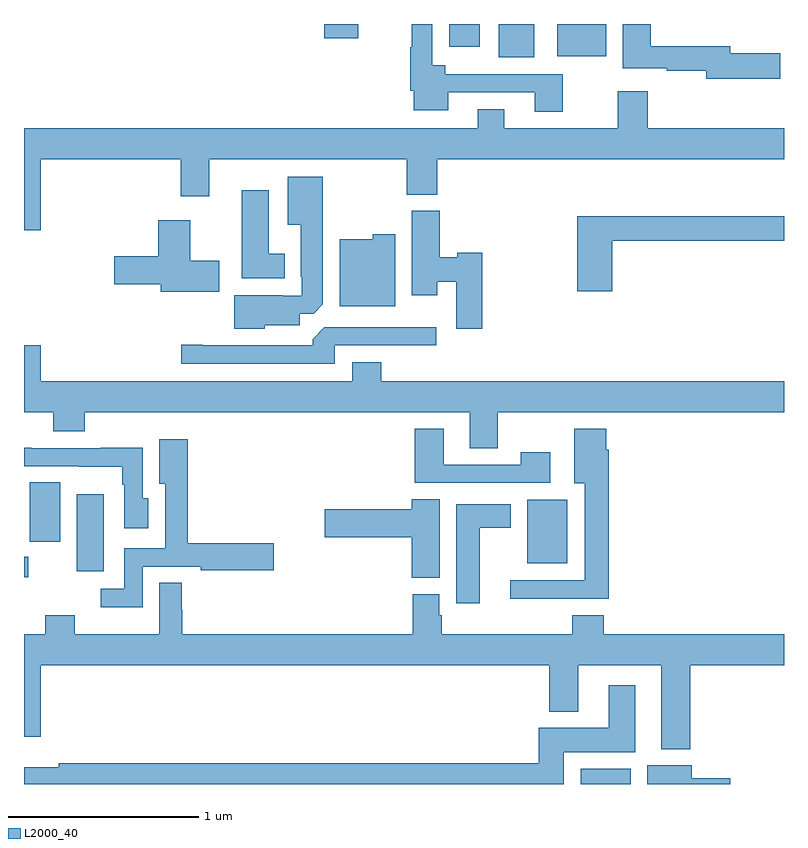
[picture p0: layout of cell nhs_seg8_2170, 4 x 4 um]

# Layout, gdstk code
import gdstk
lib = gdstk.Library(unit=1e-6, precision=1e-09)
def R(c, l, rs):  # rectangles x0, y0, x1, y1
    for r in rs: c.add(gdstk.rectangle(r[:2], r[2:], *l))
def P(c, l, *ps):  # polygons
    for p in ps: c.add(gdstk.Polygon(p, *l))
L2000_40 = (2000, 40)

nhs_seg8_2170 = lib.new_cell('nhs_seg8_2170')
R(nhs_seg8_2170, L2000_40, [(251.93,1091.9,252.193,1091.98), (249,1092.987,249.022,1093.095), (249.278,1093.02,249.421,1093.426), (251.648,1093.061,251.86,1093.396), (249.029,1093.176,249.19,1093.487), (251.498,1095.725,251.686,1095.9), (251.807,1095.731,252.064,1095.9), (251.237,1095.78,251.398,1095.9), (250.58,1095.825,250.758,1095.9)])
P(nhs_seg8_2170, L2000_40, [(252.979,1095.746),(252.718,1095.746),(252.718,1095.782),(252.299,1095.782),(252.299,1095.9),(252.152,1095.9),(252.152,1095.666),(252.382,1095.666),(252.382,1095.654),(252.59,1095.654),(252.59,1095.611),(252.979,1095.611)],
  [(251.835,1095.636),(251.218,1095.636),(251.218,1095.682),(251.148,1095.682),(251.148,1095.9),(251.04,1095.9),(251.04,1095.778),(251.032,1095.778),(251.032,1095.55),(251.051,1095.55),(251.051,1095.446),(251.233,1095.446),(251.233,1095.54),(251.687,1095.54),(251.687,1095.438),(251.835,1095.438)],
  [(249.088,1095.188),(249.824,1095.188),(249.824,1094.994),(249.976,1094.994),(249.976,1095.188),(251.014,1095.188),(251.014,1095.001),(251.174,1095.001),(251.174,1095.188),(253,1095.188),(253,1095.352),(252.284,1095.352),(252.284,1095.547),(252.124,1095.547),(252.124,1095.352),(251.527,1095.352),(251.527,1095.451),(251.387,1095.451),(251.387,1095.352),(249,1095.352),(249,1094.814),(249.088,1094.814)],
  [(250.266,1094.315),(250.45,1094.315),(250.45,1094.376),(250.524,1094.376),(250.573,1094.425),(250.573,1095.097),(250.388,1095.097),(250.388,1094.843),(250.457,1094.843),(250.457,1094.569),(250.461,1094.569),(250.461,1094.469),(250.361,1094.469),(250.361,1094.473),(250.106,1094.473),(250.106,1094.297),(250.266,1094.297)],
  [(250.372,1094.692),(250.288,1094.692),(250.288,1095.025),(250.145,1095.025),(250.145,1094.561),(250.372,1094.561)],
  [(251.411,1094.696),(251.28,1094.696),(251.28,1094.673),(251.189,1094.673),(251.189,1094.916),(251.042,1094.916),(251.042,1094.472),(251.176,1094.472),(251.176,1094.543),(251.276,1094.543),(251.276,1094.295),(251.411,1094.295)],
  [(252.095,1094.758),(253,1094.758),(253,1094.887),(251.912,1094.887),(251.912,1094.493),(252.095,1094.493)],
  [(250.027,1094.655),(249.874,1094.655),(249.874,1094.866),(249.707,1094.866),(249.707,1094.678),(249.474,1094.678),(249.474,1094.531),(249.719,1094.531),(249.719,1094.492),(250.027,1094.492)],
  [(250.954,1094.794),(250.836,1094.794),(250.836,1094.767),(250.661,1094.767),(250.661,1094.414),(250.954,1094.414)],
  [(250.635,1094.208),(251.17,1094.208),(251.17,1094.304),(250.581,1094.304),(250.52,1094.242),(250.52,1094.208),(249.94,1094.208),(249.94,1094.213),(249.828,1094.213),(249.828,1094.112),(250.635,1094.112)],
  [(251.493,1093.856),(253,1093.856),(253,1094.02),(250.88,1094.02),(250.88,1094.119),(250.727,1094.119),(250.727,1094.02),(249.088,1094.02),(249.088,1094.209),(249,1094.209),(249,1093.856),(249.155,1093.856),(249.155,1093.757),(249.32,1093.757),(249.32,1093.856),(251.345,1093.856),(251.345,1093.666),(251.493,1093.666)],
  [(252.077,1093.658),(252.064,1093.658),(252.064,1093.771),(251.897,1093.771),(251.897,1093.484),(251.951,1093.484),(251.951,1092.972),(251.559,1092.972),(251.559,1092.875),(252.077,1092.875)],
  [(251.77,1093.645),(251.614,1093.645),(251.614,1093.581),(251.209,1093.581),(251.209,1093.771),(251.057,1093.771),(251.057,1093.485),(251.77,1093.485)],
  [(249.624,1093.044),(249.93,1093.044),(249.93,1093.024),(250.315,1093.024),(250.315,1093.166),(249.862,1093.166),(249.862,1093.714),(249.713,1093.714),(249.713,1093.481),(249.743,1093.481),(249.743,1093.14),(249.528,1093.14),(249.528,1092.927),(249.405,1092.927),(249.405,1092.83),(249.624,1092.83)],
  [(249.655,1093.404),(249.624,1093.404),(249.624,1093.67),(249.403,1093.67),(249.403,1093.668),(249.037,1093.668),(249.037,1093.67),(249,1093.67),(249,1093.572),(249.286,1093.572),(249.286,1093.571),(249.516,1093.571),(249.516,1093.475),(249.528,1093.475),(249.528,1093.245),(249.655,1093.245)],
  [(251.188,1093.4),(251.042,1093.4),(251.042,1093.346),(250.584,1093.346),(250.584,1093.199),(251.042,1093.199),(251.042,1092.985),(251.188,1092.985)],
  [(251.398,1093.25),(251.563,1093.25),(251.563,1093.372),(251.276,1093.372),(251.276,1092.852),(251.398,1092.852)],
  [(252.506,1092.524),(253,1092.524),(253,1092.688),(252.05,1092.688),(252.05,1092.787),(251.885,1092.787),(251.885,1092.688),(251.198,1092.688),(251.198,1092.789),(251.185,1092.789),(251.185,1092.9),(251.045,1092.9),(251.045,1092.688),(249.832,1092.688),(249.832,1092.816),(249.83,1092.816),(249.83,1092.959),(249.713,1092.959),(249.713,1092.688),(249.267,1092.688),(249.267,1092.787),(249.112,1092.787),(249.112,1092.688),(249,1092.688),(249,1092.15),(249.088,1092.15),(249.088,1092.524),(251.765,1092.524),(251.765,1092.281),(251.917,1092.281),(251.917,1092.524),(252.353,1092.524),(252.353,1092.083),(252.506,1092.083)],
  [(251.842,1092.068),(252.217,1092.068),(252.217,1092.421),(252.077,1092.421),(252.077,1092.196),(251.708,1092.196),(251.708,1092.008),(249.184,1092.008),(249.184,1091.989),(249,1091.989),(249,1091.9),(251.842,1091.9)],
  [(252.718,1091.93),(252.514,1091.93),(252.514,1091.998),(252.281,1091.998),(252.281,1091.9),(252.718,1091.9)])

lib.write_gds('nhs_seg8_2170.gds')
